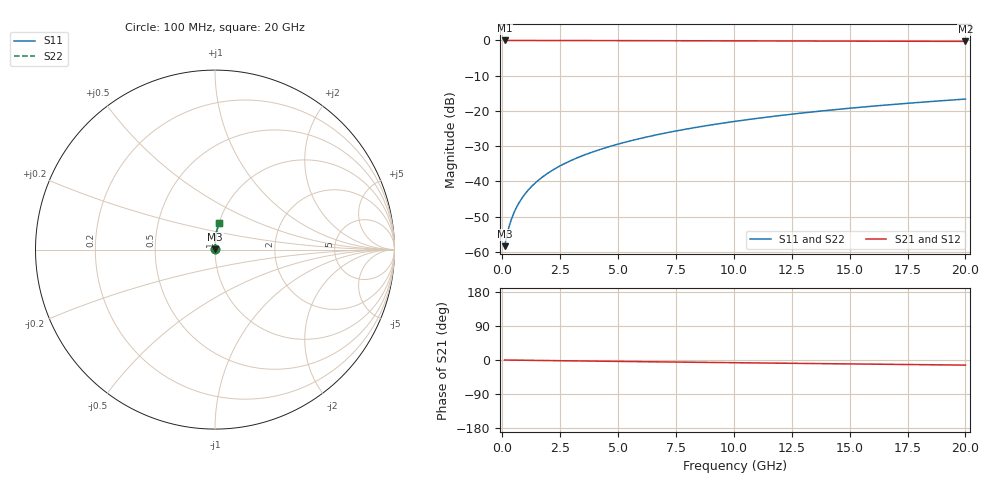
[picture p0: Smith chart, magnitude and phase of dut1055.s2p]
! Touchstone file exported from HFSS 2024.1.0
!  File:  C:/UserFiles/LocalFiles/RDL_TSV_Batchsim/temp_RDL_bottom_1055_1780052096.aedt
!  Generated:  06:57:21 PM May 29, 2026
!  Design:  RDL_bottom
!  Project:  temp_RDL_bottom_1055_1780052096
!  Setup:  Setup1
!  Solution:  Sweep
! Variables:
!  dtsv = 10.80580581um
!  hbump = 3um
!  htsv = 64.24um
!  ldown = 172.04um
!  lrdl = 100um
!  p = 40
!  p1 = 42.79um
!  rhole = 1um
!  t = 450um
!  tdown = 3.96um
!  trdl = 3.915915916um
!  wdown = 19.6um
!  wrdl = 20um
# GHz S MA R 50.000000
! Terminal data exported
! Port[1] = RDL1_T1
! Port[2] = RDL1_T2
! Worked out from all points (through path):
!   200 points, 100 MHz to 20 GHz, reference 50 ohm
!   highest |S21| = -0.01 dB at 100 MHz (marker M1); lowest = -0.3 dB at 20 GHz (marker M2)
!   group delay of S21, straight-line fit = 1.85 ps
!   lowest |S11| = -58.3 dB at 100 MHz (marker M3), VSWR 1.00, Z = 50.1 + j0.0725 ohm
!   |S11| at or under -10 dB: start of sweep to end of sweep
!   |S22| runs from -58.3 to -16.6 dB; largest |S21 - S12| = 5.7e-15
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0.1  0.00121 36.7  0.999 -0.1  0.999 -0.1  0.00121 36.7
! Gamma 0 0 0 0
! Port Impedance 50 0 50 0
0.2  0.001745 54.6  0.999 -0.2  0.999 -0.2  0.001745 54.6
0.3  0.002345 63.3  0.9989 -0.2  0.9989 -0.2  0.002345 63.3
0.4  0.00296 68.5  0.9989 -0.3  0.9989 -0.3  0.00296 68.5
0.5  0.003582 72.0  0.9988 -0.4  0.9988 -0.4  0.003582 72.0
0.6  0.004211 74.6  0.9988 -0.5  0.9988 -0.5  0.004211 74.6
0.8  0.005482 78.0  0.9987 -0.6  0.9987 -0.6  0.005482 78.0
1.1  0.007418 81.2  0.9986 -0.8  0.9986 -0.8  0.007418 81.2
1.5  0.01003 83.6  0.9983 -1.1  0.9983 -1.1  0.01003 83.6
1.8  0.01201 84.7  0.9981 -1.4  0.9981 -1.4  0.01201 84.7
2.1  0.014 85.5  0.9979 -1.6  0.9979 -1.6  0.014 85.5
2.7  0.01802 86.7  0.9973 -2.1  0.9973 -2.1  0.01802 86.7
3.5  0.02345 87.6  0.9964 -2.6  0.9964 -2.6  0.02345 87.6
4.2  0.02828 88.1  0.9955 -3.2  0.9955 -3.2  0.02828 88.1
5  0.03389 88.4  0.9943 -3.7  0.9943 -3.7  0.03389 88.4
5.9  0.04032 88.5  0.9929 -4.4  0.9929 -4.4  0.04032 88.5
6.8  0.04686 88.5  0.9914 -5.0  0.9914 -5.0  0.04686 88.5
8.4  0.05873 88.1  0.9886 -6.1  0.9886 -6.1  0.05873 88.1
10.1  0.0716 87.3  0.9857 -7.2  0.9857 -7.2  0.0716 87.3
13.4  0.09694 85.4  0.9802 -9.3  0.9802 -9.3  0.09694 85.4
16.7  0.1223 83.1  0.9748 -11.4  0.9748 -11.4  0.1223 83.1
20  0.1474 80.7  0.9694 -13.5  0.9694 -13.5  0.1474 80.7
